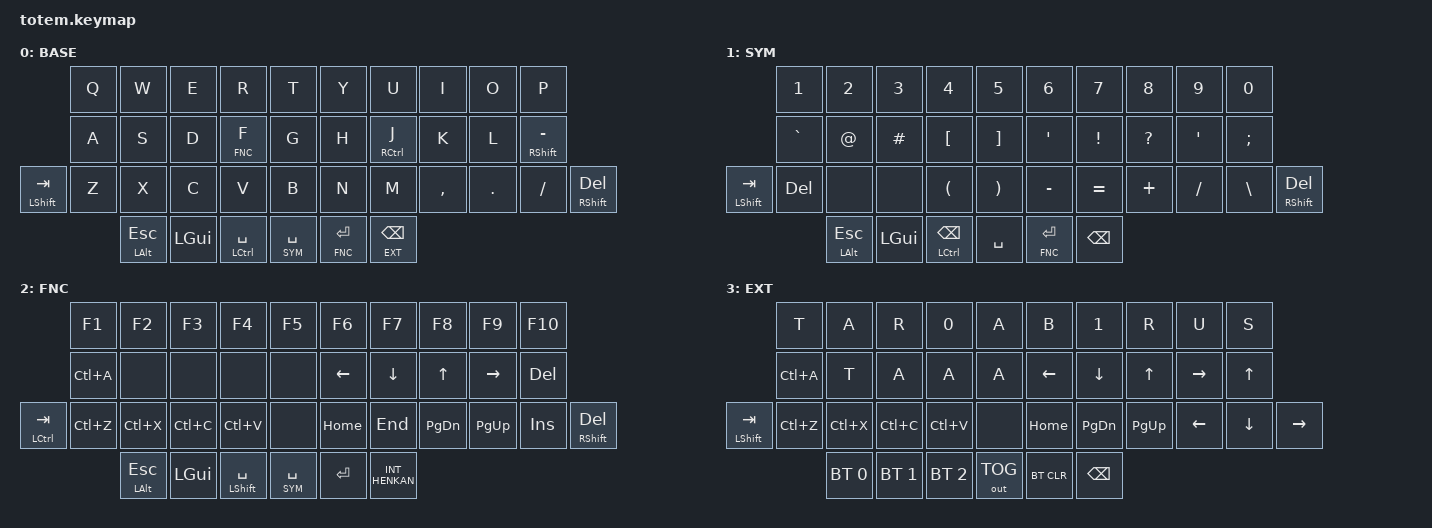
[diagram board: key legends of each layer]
//
//                                                        ▀▀▀▀▀     ▀▀▀▀▀          ▀▀█▀▀
//                                                        ▄▀▀▀▄  ▄  ▄▀▀▀▄  ▄  ▄▀▀▀▄  █  ▄▀▀▀▄
//                                                        █   █  █  █   █  █  █   █  █  █   █
//                                                         ▀▀▀   █   ▀▀▀   █   ▀▀▀   ▀   ▀▀▀
//                                                               █      ▄▄▄█▄▄▄    █   █  
//                                                               ▀      █  █  █     █▄█
//                                                             ▀▀▀▀▀    █  █  █      ▀
//                                                                      ▀  ▀  ▀
//
// ▄▄▄▄▄▄▄▄▄▄▄▄▄▄▄▄▄▄▄▄▄▄▄▄▄▄▄▄▄▄▄▄▄▄▄▄▄▄▄▄▄▄▄▄▄▄▄▄▄▄▄▄▄▄▄▄▄▄▄▄▄▄▄▄▄▄▄▄▄▄▄▄▄▄▄▄▄▄▄▄▄▄▄▄▄▄▄▄▄▄▄▄▄▄▄▄▄▄▄▄▄▄▄▄▄▄▄▄▄▄▄▄▄▄▄▄▄▄▄▄▄▄▄▄▄▄▄▄▄▄▄▄▄▄▄▄▄▄▄▄▄▄▄▄▄▄▄▄▄
       

#include <behaviors.dtsi>
#include <dt-bindings/zmk/keys.h>
#include <dt-bindings/zmk/bt.h>
#include <dt-bindings/zmk/outputs.h>

#define BASE 0
#define SYM  1
#define FNC  2
#define EXT  3
#define TVP1 4
#define TVP2 5


&mt {
  quick-tap-ms = <100>;
  global-quick-tap;
  flavor = "tap-preferred";
  tapping-term-ms = <170>;
};

/ {
     combos {
            compatible = "zmk,combos";
            combo_esc {
                timeout-ms = <50>;
                key-positions = <0 1>;
                bindings = <&kp ESC>;
            };
            combo_tvp {
                timeout-ms = <100>;
                key-positions = <11 12 13>;
                bindings = <&tog TVP1>;
            };
    };

    macros {
        gif: gif {
            label = "giphy";
            compatible = "zmk,behavior-macro";
            #binding-cells = <0>;
            bindings
                = <&macro_press &kp LSHFT>
                , <&macro_tap &kp N2>
                , <&macro_release &kp LSHFT>
                , <&macro_tap &kp G &kp I &kp F>
                ;
        };
    };

        keymap {
                compatible = "zmk,keymap";
// ▄▄▄▄▄▄▄▄▄▄▄▄▄▄▄▄▄▄▄▄▄▄▄▄▄▄▄▄▄▄▄▄▄▄▄▄▄▄▄▄▄▄▄▄▄▄▄▄▄▄▄▄▄▄▄▄▄▄▄▄▄▄▄▄▄▄▄▄▄▄▄▄▄▄▄▄▄▄▄▄▄▄▄▄▄▄▄▄▄▄▄▄▄▄▄▄▄▄▄▄▄▄▄▄▄▄▄▄▄▄▄▄▄▄▄▄▄▄▄▄▄▄▄▄▄▄▄▄▄▄▄▄▄▄▄▄▄▄▄▄▄▄▄▄▄▄▄▄▄

                base_layer {
// ┏━━━━━━━━━━━━━━━━━━━━━━━━━━━━━━━━━━━━━━━┓
label= "BASE"                              ;
// ┗━━━━━━━━━━━━━━━━━━━━━━━━━━━━━━━━━━━━━━━┛
//             ┏━━━━━━━━━━━┳━━━━━━━━━━━┳━━━━━━━━━━━┳━━━━━━━━━━━┳━━━━━━━━━━━┓   ┏━━━━━━━━━━━┳━━━━━━━━━━━┳━━━━━━━━━━━┳━━━━━━━━━━━┳━━━━━━━━━━━┓
//             ┃     Q     ┃     W     ┃     E     ┃     R     ┃     T     ┃   ┃     Y     ┃     U     ┃     I     ┃     O     ┃     P     ┃
//             ┣━━━━━━━━━━━╋━━━━━━━━━━━╋━━━━━━━━━━━╋━━━━━━━━━━━╋━━━━━━━━━━━┫   ┣━━━━━━━━━━━╋━━━━━━━━━━━╋━━━━━━━━━━━╋━━━━━━━━━━━╋━━━━━━━━━━━┫
//             ┃     A     ┃     S     ┃     D     ┃     F     ┃     G     ┃   ┃     H     ┃     J     ┃     K     ┃     L     ┃     -     ┃
// ┏━━━━━━━━━━━╋━━━━━━━━━━━╋━━━━━━━━━━━╋━━━━━━━━━━━╋━━━━━━━━━━━╋━━━━━━━━━━━┫   ┣━━━━━━━━━━━╋━━━━━━━━━━━╋━━━━━━━━━━━╋━━━━━━━━━━━╋━━━━━━━━━━━╋━━━━━━━━━━━┓
// ┃   SHIFT   ┃     Z     ┃     X     ┃     C     ┃     V     ┃     B     ┃   ┃     N     ┃     M     ┃     ,     ┃     .     ┃     /     ┃   SH/DEL  ┃
// ┗━━━━━━━━━━━┻━━━━━━━━━━━┻━━━━━━━━━━━╋━━━━━━━━━━━╋━━━━━━━━━━━╋━━━━━━━━━━━┫   ┣━━━━━━━━━━━╋━━━━━━━━━━━╋━━━━━━━━━━━╋━━━━━━━━━━━┻━━━━━━━━━━━┻━━━━━━━━━━━┛
//                                     ┃    ALT    ┃    GUI    ┃    CTRL   ┃   ┃    SPC    ┃   ENTER   ┃   BSPC    ┃
//                                     ┗━━━━━━━━━━━┻━━━━━━━━━━━┻━━━━━━━━━━━┛   ┗━━━━━━━━━━━┻━━━━━━━━━━━┻━━━━━━━━━━━┛
 bindings = <
// ╷           ╷           ╷           ╷           ╷           ╷           ╷   ╷           ╷           ╷           ╷           ╷           ╷           ╷

                &kp Q       &kp W       &kp E       &kp R       &kp T           &kp Y       &kp U       &kp I       &kp O       &kp P
                &kp A       &kp S       &kp D       &lt FNC F   &kp G           &kp H       &mt RCTRL J &kp K       &kp L       &mt RSHFT MINUS
&mt LSHFT TAB   &kp Z       &kp X       &kp C       &kp V       &kp B           &kp N       &kp M       &kp COMMA   &kp DOT     &kp FSLH    &mt RSHFT DEL
                          &mt LALT ESC &kp LGUI    &mt LCTRL SPACE &lt SYM SPACE &lt FNC RET &lt EXT BSPC
                     >;
                };

// ▄▄▄▄▄▄▄▄▄▄▄▄▄▄▄▄▄▄▄▄▄▄▄▄▄▄▄▄▄▄▄▄▄▄▄▄▄▄▄▄▄▄▄▄▄▄▄▄▄▄▄▄▄▄▄▄▄▄▄▄▄▄▄▄▄▄▄▄▄▄▄▄▄▄▄▄▄▄▄▄▄▄▄▄▄▄▄▄▄▄▄▄▄▄▄▄▄▄▄▄▄▄▄▄▄▄▄▄▄▄▄▄▄▄▄▄▄▄▄▄▄▄▄▄▄▄▄▄▄▄▄▄▄▄▄▄▄▄▄▄▄▄▄▄▄▄▄▄▄


                sym_layer {
// ┏━━━━━━━━━━━━━━━━━━━━━━━━━━━━━━━━━━━━━━━┓
label= "SYM"                               ;
// ┗━━━━━━━━━━━━━━━━━━━━━━━━━━━━━━━━━━━━━━━┛
//             ┏━━━━━━━━━━━┳━━━━━━━━━━━┳━━━━━━━━━━━┳━━━━━━━━━━━┳━━━━━━━━━━━┓   ┏━━━━━━━━━━━┳━━━━━━━━━━━┳━━━━━━━━━━━┳━━━━━━━━━━━┳━━━━━━━━━━━┓
//             ┃     1     ┃     2     ┃     3     ┃     4     ┃     5     ┃   ┃     6     ┃     7     ┃     8     ┃     9     ┃     0     ┃
//             ┣━━━━━━━━━━━╋━━━━━━━━━━━╋━━━━━━━━━━━╋━━━━━━━━━━━╋━━━━━━━━━━━┫   ┣━━━━━━━━━━━╋━━━━━━━━━━━╋━━━━━━━━━━━╋━━━━━━━━━━━╋━━━━━━━━━━━┫
//             ┃   GRAVE   ┃     @     ┃     #     ┃     [     ┃     ]     ┃   ┃     '     ┃     !     ┃     ?     ┃     '     ┃     ;     ┃
// ┏━━━━━━━━━━━╋━━━━━━━━━━━╋━━━━━━━━━━━╋━━━━━━━━━━━╋━━━━━━━━━━━╋━━━━━━━━━━━┫   ┣━━━━━━━━━━━╋━━━━━━━━━━━╋━━━━━━━━━━━╋━━━━━━━━━━━╋━━━━━━━━━━━╋━━━━━━━━━━━┓
// ┃   SHIFT   ┃           ┃           ┃           ┃     (     ┃     )     ┃   ┃     -     ┃     =     ┃     +     ┃     /     ┃     \     ┃   SH/DEL  ┃
// ┗━━━━━━━━━━━┻━━━━━━━━━━━┻━━━━━━━━━━━╋━━━━━━━━━━━╋━━━━━━━━━━━╋━━━━━━━━━━━┫   ┣━━━━━━━━━━━╋━━━━━━━━━━━╋━━━━━━━━━━━╋━━━━━━━━━━━┻━━━━━━━━━━━┻━━━━━━━━━━━┛
//                                     ┃    ALT    ┃    GUI    ┃    CTRL   ┃   ┃    SPC    ┃   ENTER   ┃   BSPC    ┃
//                                     ┗━━━━━━━━━━━┻━━━━━━━━━━━┻━━━━━━━━━━━┛   ┗━━━━━━━━━━━┻━━━━━━━━━━━┻━━━━━━━━━━━┛
 bindings = <
// ╷           ╷           ╷           ╷           ╷           ╷           ╷   ╷           ╷           ╷           ╷           ╷           ╷           ╷

                &kp N1      &kp N2      &kp N3      &kp N4      &kp N5          &kp N6      &kp N7      &kp N8      &kp N9      &kp N0
                &kp GRAVE   &kp AT      &kp HASH    &kp LBKT    &kp RBKT        &kp APOS    &kp EXCL    &kp QMARK   &kp APOS    &kp SEMI
 &mt LSHFT TAB   &kp DEL    &none       &none       &kp LPAR    &kp RPAR        &kp MINUS   &kp EQUAL   &kp PLUS    &kp FSLH    &kp BSLH    &mt RSHFT DEL
                                        &mt LALT ESC &kp LGUI   &mt LCTRL BSPC  &kp SPACE   &lt FNC RET &kp BSPC
                        >;
                };

// ▄▄▄▄▄▄▄▄▄▄▄▄▄▄▄▄▄▄▄▄▄▄▄▄▄▄▄▄▄▄▄▄▄▄▄▄▄▄▄▄▄▄▄▄▄▄▄▄▄▄▄▄▄▄▄▄▄▄▄▄▄▄▄▄▄▄▄▄▄▄▄▄▄▄▄▄▄▄▄▄▄▄▄▄▄▄▄▄▄▄▄▄▄▄▄▄▄▄▄▄▄▄▄▄▄▄▄▄▄▄▄▄▄▄▄▄▄▄▄▄▄▄▄▄▄▄▄▄▄▄▄▄▄▄▄▄▄▄▄▄▄▄▄▄▄▄▄▄▄


                fnc_layer {
// ┏━━━━━━━━━━━━━━━━━━━━━━━━━━━━━━━━━━━━━━━┓
label= "FNC"                               ;
// ┗━━━━━━━━━━━━━━━━━━━━━━━━━━━━━━━━━━━━━━━┛
//             ┏━━━━━━━━━━━┳━━━━━━━━━━━┳━━━━━━━━━━━┳━━━━━━━━━━━┳━━━━━━━━━━━┓   ┏━━━━━━━━━━━┳━━━━━━━━━━━┳━━━━━━━━━━━┳━━━━━━━━━━━┳━━━━━━━━━━━┓
//             ┃    F1     ┃    F2     ┃    F3     ┃    F4     ┃    F5     ┃   ┃    F6     ┃    F7     ┃    F8     ┃    F9     ┃    F10    ┃
//             ┣━━━━━━━━━━━╋━━━━━━━━━━━╋━━━━━━━━━━━╋━━━━━━━━━━━╋━━━━━━━━━━━┫   ┣━━━━━━━━━━━╋━━━━━━━━━━━╋━━━━━━━━━━━╋━━━━━━━━━━━╋━━━━━━━━━━━┫
//             ┃  SEL ALL  ┃    SAVE   ┃           ┃           ┃           ┃   ┃   LEFT    ┃   DOWN    ┃    UP     ┃   RIGHT   ┃    DEL    ┃
// ┏━━━━━━━━━━━╋━━━━━━━━━━━╋━━━━━━━━━━━╋━━━━━━━━━━━╋━━━━━━━━━━━╋━━━━━━━━━━━┫   ┣━━━━━━━━━━━╋━━━━━━━━━━━╋━━━━━━━━━━━╋━━━━━━━━━━━╋━━━━━━━━━━━╋━━━━━━━━━━━┓
// ┃   CTRL    ┃    UNDO   ┃    CUT    ┃   COPY    ┃   PASTE   ┃           ┃   ┃   HOME    ┃    END    ┃   PGDN    ┃   PGUP    ┃    INS    ┃   SH/DEL  ┃
// ┗━━━━━━━━━━━┻━━━━━━━━━━━┻━━━━━━━━━━━╋━━━━━━━━━━━╋━━━━━━━━━━━╋━━━━━━━━━━━┫   ┣━━━━━━━━━━━╋━━━━━━━━━━━╋━━━━━━━━━━━╋━━━━━━━━━━━┻━━━━━━━━━━━┻━━━━━━━━━━━┛
//                                     ┃    ALT    ┃    GUI    ┃   SHIFT   ┃   ┃    SPC    ┃   ENTER   ┃   BSPC    ┃
//                                     ┗━━━━━━━━━━━┻━━━━━━━━━━━┻━━━━━━━━━━━┛   ┗━━━━━━━━━━━┻━━━━━━━━━━━┻━━━━━━━━━━━┛
 bindings = <
// ╷           ╷           ╷           ╷           ╷           ╷           ╷   ╷           ╷           ╷           ╷           ╷           ╷           ╷

                &kp F1      &kp F2      &kp F3      &kp F4      &kp F5          &kp F6       &kp F7       &kp F8     &kp F9       &kp F10       
                &kp LC(A)   &none       &none       &none       &none           &kp LEFT     &kp DOWN     &kp UP     &kp RIGHT    &kp DEL 
&mt LCTRL TAB   &kp LC(Z)   &kp LC(X)   &kp LC(C)   &kp LC(V)   &none           &kp HOME     &kp END      &kp PG_DN  &kp PG_UP   &kp INS    &mt RSHFT DEL
                                        &mt LALT ESC &kp LGUI   &mt LSHFT SPACE &lt SYM SPACE &kp RET &kp INT_HENKAN   
                        >;
                };
                
                
// ▄▄▄▄▄▄▄▄▄▄▄▄▄▄▄▄▄▄▄▄▄▄▄▄▄▄▄▄▄▄▄▄▄▄▄▄▄▄▄▄▄▄▄▄▄▄▄▄▄▄▄▄▄▄▄▄▄▄▄▄▄▄▄▄▄▄▄▄▄▄▄▄▄▄▄▄▄▄▄▄▄▄▄▄▄▄▄▄▄▄▄▄▄▄▄▄▄▄▄▄▄▄▄▄▄▄▄▄▄▄▄▄▄▄▄▄▄▄▄▄▄▄▄▄▄▄▄▄▄▄▄▄▄▄▄▄▄▄▄▄▄▄▄▄▄▄▄▄▄


                ext_layer {
// ┏━━━━━━━━━━━━━━━━━━━━━━━━━━━━━━━━━━━━━━━┓
label= "EXT"                               ;
// ┗━━━━━━━━━━━━━━━━━━━━━━━━━━━━━━━━━━━━━━━┛
//             ┏━━━━━━━━━━━┳━━━━━━━━━━━┳━━━━━━━━━━━┳━━━━━━━━━━━┳━━━━━━━━━━━┓   ┏━━━━━━━━━━━┳━━━━━━━━━━━┳━━━━━━━━━━━┳━━━━━━━━━━━┳━━━━━━━━━━━┓
//             ┃    F1     ┃    F2     ┃    F3     ┃    F4     ┃    F5     ┃   ┃    F6     ┃    F7     ┃    F8     ┃    F9     ┃    F10    ┃
//             ┣━━━━━━━━━━━╋━━━━━━━━━━━╋━━━━━━━━━━━╋━━━━━━━━━━━╋━━━━━━━━━━━┫   ┣━━━━━━━━━━━╋━━━━━━━━━━━╋━━━━━━━━━━━╋━━━━━━━━━━━╋━━━━━━━━━━━┫
//             ┃           ┃           ┃           ┃           ┃           ┃   ┃   LEFT    ┃   DOWN    ┃    UP     ┃   RIGHT   ┃    UP     ┃
// ┏━━━━━━━━━━━╋━━━━━━━━━━━╋━━━━━━━━━━━╋━━━━━━━━━━━╋━━━━━━━━━━━╋━━━━━━━━━━━┫   ┣━━━━━━━━━━━╋━━━━━━━━━━━╋━━━━━━━━━━━╋━━━━━━━━━━━╋━━━━━━━━━━━╋━━━━━━━━━━━┓
// ┃   SHIFT   ┃           ┃           ┃           ┃           ┃           ┃   ┃   HOME    ┃   PGDN    ┃   PGUP    ┃   LEFT    ┃   DOWN    ┃   RIGHT   ┃
// ┗━━━━━━━━━━━┻━━━━━━━━━━━┻━━━━━━━━━━━╋━━━━━━━━━━━╋━━━━━━━━━━━╋━━━━━━━━━━━┫   ┣━━━━━━━━━━━╋━━━━━━━━━━━╋━━━━━━━━━━━╋━━━━━━━━━━━┻━━━━━━━━━━━┻━━━━━━━━━━━┛
//                                     ┃    BT0    ┃    BT1    ┃    BT2    ┃   ┃    TOG    ┃   BTCLR   ┃   BSPC    ┃
//                                     ┗━━━━━━━━━━━┻━━━━━━━━━━━┻━━━━━━━━━━━┛   ┗━━━━━━━━━━━┻━━━━━━━━━━━┻━━━━━━━━━━━┛
 bindings = <
// ╷           ╷           ╷           ╷           ╷           ╷           ╷   ╷           ╷           ╷           ╷           ╷           ╷           ╷

                &kp T       &kp A       &kp R       &kp N0      &kp A           &kp B        &kp N1       &kp R      &kp U        &kp S       
                &kp LC(A)   &kp T       &kp A       &kp A       &kp A           &kp LEFT     &kp DOWN     &kp UP     &kp RIGHT    &kp UP 
&mt LSHFT TAB   &kp LC(Z)   &kp LC(X)   &kp LC(C)   &kp LC(V)     &none         &kp HOME     &kp PG_DN    &kp PG_UP  &kp LEFT     &kp DOWN   &kp RIGHT
                                     &bt BT_SEL 0 &bt BT_SEL 1 &bt BT_SEL 2    &out OUT_TOG &bt BT_CLR    &kp BSPC   
                        >;
                };
                
        };
};
